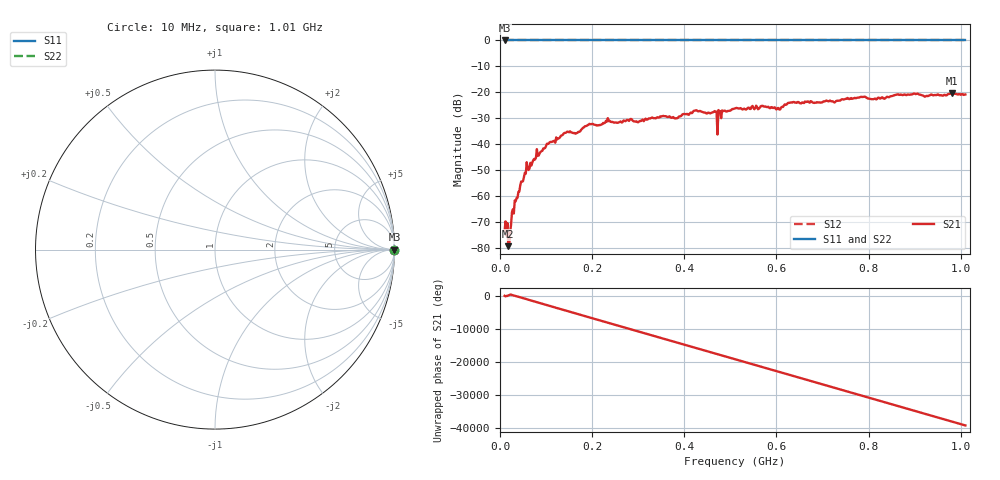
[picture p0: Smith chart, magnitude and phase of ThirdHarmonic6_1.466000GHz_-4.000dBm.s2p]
! 8/16/2025 5:03:50 PM
! C:\ANRITSUVNA\TEMP\TEMP.S2P
! CHANNEL.1
! TR.MEASUREMENT
! RAW.DATA
! RF.CORRECTION.OFF
! AVERAGING.OFF
! IF.BANDWIDTH: 5KHZ
! SWEEPTYPE:  FREQ.SWEEP(Linear)
! Reference Plane Port Info
! PORT:  PORT1  PORT2
! DISTANCE:  0  m  0  m
! TIME:  0  s  0  s
! PHASE.OFFSET:  0  deg.  0  deg.
! LOSS:  0  dB  0  dB
! REF.LOSS:  0  dB  0  dB
! REF.FREQ:  0  Hz  0  Hz
! Power Info
! POWER:  -20  dBm  -20  dBm
! EFF.POWER:  -20  dBm  -20  dBm
! SOURCE.ATTEN:  0  dB  0  dB
! TEST.ATTEN:  0  dB  0  dB
# GHZ S RI R 50.0
! FREQ.GHZ  S11RE  S11IM  S21RE  S21IM  S12RE  S12IM  S22RE  S22IM
!; PortSelection: Port_12
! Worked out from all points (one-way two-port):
!   501 points, 10 MHz to 1.01 GHz, reference 50 ohm
!   highest |S21| = -20.31 dB at 980 MHz (marker M1); lowest = -79.2 dB at 18 MHz (marker M2)
!   lowest |S11| = 0.0 dB at 10 MHz (marker M3)
!   |S11| at or under -10 dB: nowhere
!   |S22| runs from 0.0 to 0.0 dB; largest |S21 - S12| = 1.1
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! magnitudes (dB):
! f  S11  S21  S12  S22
! 10 MHz  0.0  -73.3  0.0  0.0
! 18 MHz  0.0  -79.2  0.0  0.0
! 22 MHz  0.0  -74.0  0.0  0.0
! 30 MHz  0.0  -66.6  0.0  0.0
! 56 MHz  0.0  -51.3  0.0  0.0
! 62 MHz  0.0  -49.9  0.0  0.0
! 106 MHz  0.0  -39.6  0.0  0.0
! 178 MHz  0.0  -34.0  0.0  0.0
! 234 MHz  0.0  -29.9  0.0  0.0
! 344 MHz  0.0  -29.7  0.0  0.0
! 382 MHz  0.0  -29.9  0.0  0.0
! 424 MHz  0.0  -27.0  0.0  0.0
! 466 MHz  0.0  -27.2  0.0  0.0
! 476 MHz  0.0  -27.2  0.0  0.0
! 478 MHz  0.0  -27.2  0.0  0.0
! 510 MHz  0.0  -26.2  0.0  0.0
! 604 MHz  0.0  -26.0  0.0  0.0
! 628 MHz  0.0  -24.0  0.0  0.0
! 678 MHz  0.0  -23.8  0.0  0.0
! 844 MHz  0.0  -21.9  0.0  0.0
! 980 MHz  0.0  -20.3  0.0  0.0
! 1.01 GHz  0.0  -20.8  0.0  0.0
